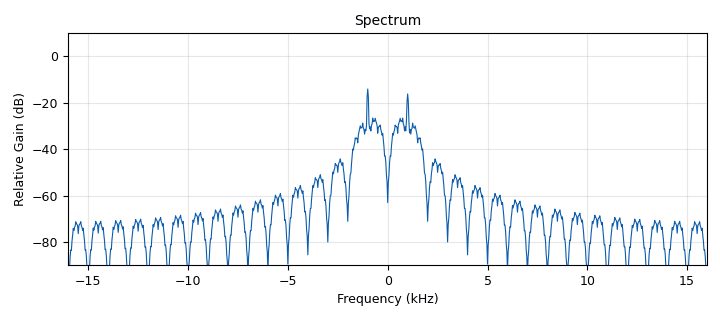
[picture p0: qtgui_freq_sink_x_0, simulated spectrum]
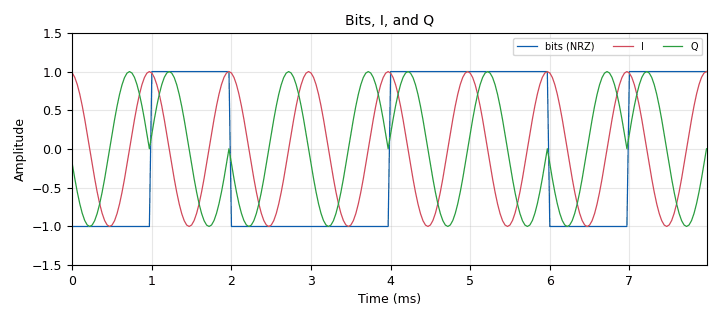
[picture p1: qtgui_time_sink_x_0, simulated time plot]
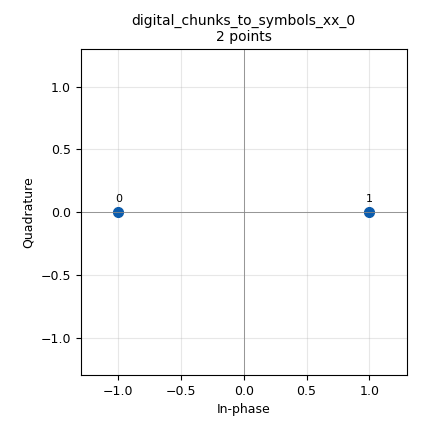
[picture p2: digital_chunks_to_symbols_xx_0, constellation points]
options:
  parameters:
    author: ECE 448
    description: 'L8: a text message as binary FSK. Change the deviation and watch the two tones move apart.'
    generate_options: qt_gui
    id: L08_fsk_tx
    output_language: python
    title: L8 - FSK Transmitter
  states: {}

blocks:
- name: baud
  id: variable
  parameters:
    value: samp_rate/sps
  states: {}
- name: dev
  id: variable_qtgui_range
  parameters:
    gui_hint: 0,0,1,2
    label: Deviation (Hz)
    start: '250'
    step: '250'
    stop: '4000'
    value: '1000'
  states: {}
- name: msg
  id: variable
  parameters:
    value: '''USAFA ECE 448: FSK over a noisy channel.'''
  states: {}
- name: samp_rate
  id: variable
  parameters:
    value: '32000'
  states: {}
- name: sps
  id: variable
  parameters:
    value: '32'
  states: {}
- name: analog_frequency_modulator_fc_0
  id: analog_frequency_modulator_fc
  parameters:
    sensitivity: 2*math.pi*dev/samp_rate
  states: {}
- name: blocks_complex_to_imag_0
  id: blocks_complex_to_imag
  parameters: {}
  states: {}
- name: blocks_complex_to_real_0
  id: blocks_complex_to_real
  parameters: {}
  states: {}
- name: blocks_repeat_0
  id: blocks_repeat
  parameters:
    interp: sps
    type: float
  states: {}
- name: blocks_throttle2_0
  id: blocks_throttle2
  parameters:
    samples_per_second: samp_rate
    type: complex
  states: {}
- name: blocks_unpack_k_bits_bb_0
  id: blocks_unpack_k_bits_bb
  parameters:
    k: '8'
  states: {}
- name: blocks_vector_source_x_0
  id: blocks_vector_source_x
  parameters:
    repeat: 'True'
    type: byte
    vector: list(msg.encode()) + [10]
  states: {}
- name: digital_chunks_to_symbols_xx_0
  id: digital_chunks_to_symbols_xx
  parameters:
    dimension: '1'
    in_type: byte
    out_type: float
    symbol_table: '[-1, 1]'
  states: {}
- name: import_0
  id: import
  parameters:
    imports: import math
  states: {}
- name: qtgui_freq_sink_x_0
  id: qtgui_freq_sink_x
  parameters:
    average: '0.1'
    bw: samp_rate
    fc: '0'
    fftsize: '1024'
    grid: 'True'
    gui_hint: 1,1,1,1
    legend: 'False'
    name: '"Spectrum"'
    type: complex
    ymin: '-90'
  states: {}
- name: qtgui_time_sink_x_0
  id: qtgui_time_sink_x
  parameters:
    grid: 'True'
    gui_hint: 1,0,1,1
    label1: '"bits (NRZ)"'
    label2: '"I"'
    label3: '"Q"'
    name: '"Bits, I, and Q"'
    nconnections: '3'
    size: '256'
    srate: samp_rate
    type: float
    update_time: '0.1'
    ymax: '1.5'
    ymin: '-1.5'
  states: {}

connections:
- [analog_frequency_modulator_fc_0, '0', blocks_throttle2_0, '0']
- [blocks_complex_to_imag_0, '0', qtgui_time_sink_x_0, '2']
- [blocks_complex_to_real_0, '0', qtgui_time_sink_x_0, '1']
- [blocks_repeat_0, '0', analog_frequency_modulator_fc_0, '0']
- [blocks_repeat_0, '0', qtgui_time_sink_x_0, '0']
- [blocks_throttle2_0, '0', blocks_complex_to_imag_0, '0']
- [blocks_throttle2_0, '0', blocks_complex_to_real_0, '0']
- [blocks_throttle2_0, '0', qtgui_freq_sink_x_0, '0']
- [blocks_unpack_k_bits_bb_0, '0', digital_chunks_to_symbols_xx_0, '0']
- [blocks_vector_source_x_0, '0', blocks_unpack_k_bits_bb_0, '0']
- [digital_chunks_to_symbols_xx_0, '0', blocks_repeat_0, '0']

metadata:
  file_format: 1
  grc_version: 3.10.9.2
